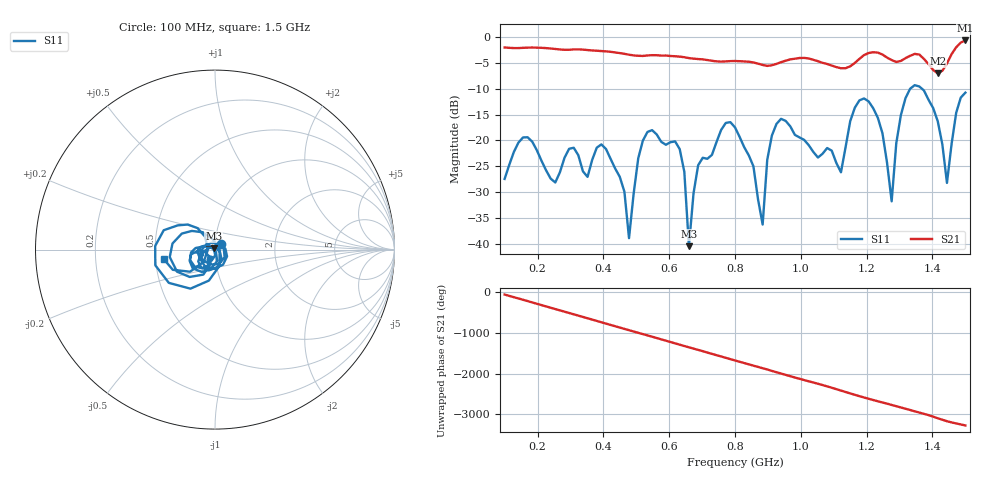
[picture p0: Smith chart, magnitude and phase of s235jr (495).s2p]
! NanoVNA-App
! Date: 2025-09-25 15:08:01
! Start: 100MHz Stop: 1,5GHz Points: 101
! S-Parameter data: F S11 S21 S12 S22
# Hz S RI R 50
!  Frequency  S11_Real  S11_Imag  S21_Real  S21_Imag  S12_Real  S12_Imag  S22_Real  S22_Imag
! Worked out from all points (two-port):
!   101 points, 100 MHz to 1.5 GHz, reference 50 ohm
!   highest |S21| = -0.61 dB at 1.5 GHz (marker M1); lowest = -7.0 dB at 1.416 GHz (marker M2)
!   |S21| within 3 dB of the highest: start of sweep to 517.6 MHz; 520.8 MHz to 601.6 MHz (80.84 MHz wide, 14.4 % of centre) (the widest 2 of 5)
!   lowest |S11| = -40.5 dB at 660 MHz (marker M3), VSWR 1.02, Z = 49.3 + j0.606 ohm
!   |S11| at or under -10 dB: start of sweep to 1.332 GHz; 1.369 GHz to end of sweep
!   S12 and S22 are empty: the file has one direction only
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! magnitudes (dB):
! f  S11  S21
! 100 MHz  -27.5  -2.0
! 156 MHz  -19.4  -2.0
! 338 MHz  -26.0  -2.4
! 408 MHz  -21.7  -2.7
! 478 MHz  -38.9  -3.4
! 520 MHz  -20.0  -3.6
! 576 MHz  -20.3  -3.5
! 632 MHz  -21.7  -3.7
! 660 MHz  -40.5  -4.0
! 688 MHz  -24.8  -4.2
! 800 MHz  -17.5  -4.6
! 884 MHz  -36.3  -5.4
! 926 MHz  -16.8  -5.1
! 1.038 GHz  -22.2  -4.4
! 1.122 GHz  -26.2  -6.0
! 1.192 GHz  -11.9  -3.5
! 1.248 GHz  -18.6  -3.3
! 1.276 GHz  -31.8  -4.4
! 1.332 GHz  -10.0  -3.6
! 1.416 GHz  -16.3  -7.0
! 1.444 GHz  -28.2  -5.1
! 1.5 GHz  -10.7  -0.6
